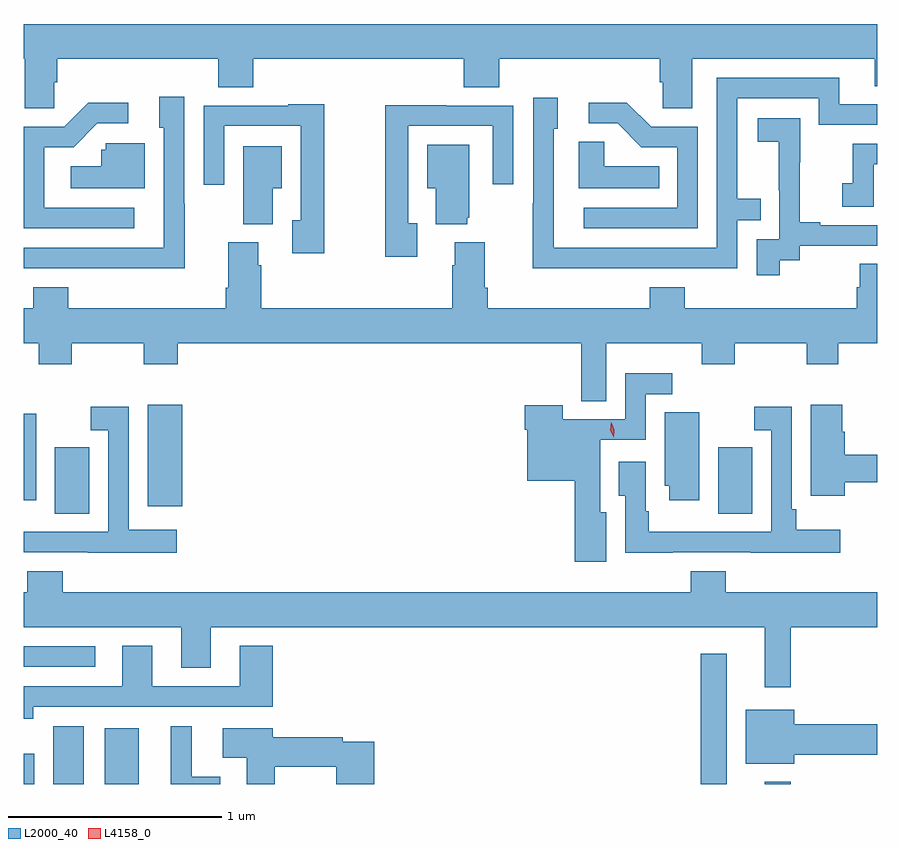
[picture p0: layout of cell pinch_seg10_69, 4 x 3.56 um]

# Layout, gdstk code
import gdstk
lib = gdstk.Library(unit=1e-6, precision=1e-09)
def R(c, l, rs):  # rectangles x0, y0, x1, y1
    for r in rs: c.add(gdstk.rectangle(r[:2], r[2:], *l))
def P(c, l, *ps):  # polygons
    for p in ps: c.add(gdstk.Polygon(p, *l))
L2000_40 = (2000, 40)
L4158_0 = (4158, 0)

pinch_seg10_69 = lib.new_cell('pinch_seg10_69')
R(pinch_seg10_69, L2000_40, [(820.326,1319.562,820.374,1319.704), (820.463,1319.562,820.606,1319.833), (820.706,1319.562,820.864,1319.824), (823.5,1319.562,823.621,1320.172), (823.799,1319.562,823.921,1319.572), (820.326,1320.111,820.66,1320.207), (820.472,1320.829,820.633,1321.14), (823.58,1320.829,823.741,1321.14), (820.907,1320.864,821.068,1321.339), (820.326,1320.891,820.384,1321.297)])
P(pinch_seg10_69, L2000_40, [(820.47,1322.851),(820.484,1322.851),(820.484,1322.96),(821.237,1322.96),(821.237,1322.827),(821.402,1322.827),(821.402,1322.96),(822.389,1322.96),(822.389,1322.827),(822.554,1322.827),(822.554,1322.96),(823.307,1322.96),(823.307,1322.851),(823.32,1322.851),(823.32,1322.728),(823.459,1322.728),(823.459,1322.96),(824.315,1322.96),(824.315,1322.833),(824.326,1322.833),(824.326,1323.124),(820.326,1323.124),(820.326,1322.96),(820.331,1322.96),(820.331,1322.728),(820.47,1322.728)],
  [(823.175,1321.98),(823.671,1321.98),(823.671,1322.205),(823.781,1322.205),(823.781,1322.306),(823.671,1322.306),(823.671,1322.775),(824.052,1322.775),(824.052,1322.652),(824.326,1322.652),(824.326,1322.748),(824.149,1322.748),(824.149,1322.871),(823.575,1322.871),(823.575,1322.076),(822.81,1322.076),(822.81,1322.634),(822.829,1322.634),(822.829,1322.779),(822.714,1322.779),(822.714,1322.285),(822.712,1322.285),(822.712,1321.979),(823.175,1321.979)],
  [(821.081,1322.282),(821.079,1322.282),(821.079,1322.782),(820.961,1322.782),(820.961,1322.637),(820.983,1322.637),(820.983,1322.076),(820.326,1322.076),(820.326,1321.98),(820.618,1321.98),(820.618,1321.979),(821.081,1321.979)],
  [(823.485,1322.643),(823.266,1322.643),(823.153,1322.756),(822.975,1322.756),(822.975,1322.658),(823.109,1322.658),(823.22,1322.547),(823.389,1322.547),(823.389,1322.262),(822.951,1322.262),(822.951,1322.166),(823.485,1322.166)],
  [(820.843,1322.262),(820.422,1322.262),(820.422,1322.547),(820.56,1322.547),(820.671,1322.658),(820.816,1322.658),(820.816,1322.756),(820.628,1322.756),(820.515,1322.643),(820.326,1322.643),(820.326,1322.166),(820.843,1322.166)],
  [(821.734,1322.749),(821.565,1322.749),(821.565,1322.742),(821.169,1322.742),(821.169,1322.37),(821.265,1322.37),(821.265,1322.646),(821.625,1322.646),(821.625,1322.205),(821.585,1322.205),(821.585,1322.049),(821.734,1322.049)],
  [(822.169,1322.19),(822.129,1322.19),(822.129,1322.646),(822.525,1322.646),(822.525,1322.373),(822.621,1322.373),(822.621,1322.742),(822.305,1322.742),(822.305,1322.744),(822.021,1322.744),(822.021,1322.034),(822.169,1322.034)],
  [(823.87,1322.017),(823.962,1322.017),(823.962,1322.085),(824.326,1322.085),(824.326,1322.181),(824.059,1322.181),(824.059,1322.194),(823.964,1322.194),(823.964,1322.477),(823.965,1322.477),(823.965,1322.683),(823.767,1322.683),(823.767,1322.573),(823.865,1322.573),(823.865,1322.345),(823.866,1322.345),(823.866,1322.115),(823.761,1322.115),(823.761,1321.947),(823.87,1321.947)],
  [(823.304,1322.458),(823.047,1322.458),(823.047,1322.573),(822.926,1322.573),(822.926,1322.354),(823.304,1322.354)],
  [(820.894,1322.565),(820.71,1322.565),(820.71,1322.535),(820.689,1322.535),(820.689,1322.458),(820.545,1322.458),(820.545,1322.354),(820.894,1322.354)],
  [(824.31,1322.466),(824.326,1322.466),(824.326,1322.562),(824.212,1322.562),(824.212,1322.377),(824.163,1322.377),(824.163,1322.268),(824.31,1322.268)],
  [(822.404,1322.217),(822.415,1322.217),(822.415,1322.557),(822.218,1322.557),(822.218,1322.354),(822.257,1322.354),(822.257,1322.186),(822.404,1322.186)],
  [(821.494,1322.354),(821.536,1322.354),(821.536,1322.551),(821.354,1322.551),(821.354,1322.185),(821.494,1322.185)],
  [(823.057,1321.628),(823.504,1321.628),(823.504,1321.529),(823.659,1321.529),(823.659,1321.628),(823.996,1321.628),(823.996,1321.529),(824.143,1321.529),(824.143,1321.628),(824.326,1321.628),(824.326,1322),(824.243,1322),(824.243,1321.89),(824.231,1321.89),(824.231,1321.792),(823.424,1321.792),(823.424,1321.891),(823.259,1321.891),(823.259,1321.792),(822.5,1321.792),(822.5,1321.888),(822.487,1321.888),(822.487,1322.101),(822.347,1322.101),(822.347,1321.994),(822.335,1321.994),(822.335,1321.792),(821.438,1321.792),(821.438,1321.994),(821.425,1321.994),(821.425,1322.1),(821.285,1322.1),(821.285,1321.888),(821.273,1321.888),(821.273,1321.792),(820.535,1321.792),(820.535,1321.891),(820.37,1321.891),(820.37,1321.792),(820.326,1321.792),(820.326,1321.628),(820.396,1321.628),(820.396,1321.529),(820.551,1321.529),(820.551,1321.628),(820.888,1321.628),(820.888,1321.529),(821.048,1321.529),(821.048,1321.628),(822.939,1321.628),(822.939,1321.357),(823.057,1321.357)],
  [(823.057,1320.835),(823.027,1320.835),(823.027,1321.176),(823.242,1321.176),(823.242,1321.389),(823.366,1321.389),(823.366,1321.486),(823.146,1321.486),(823.146,1321.272),(822.94,1321.272),(822.94,1321.271),(822.852,1321.271),(822.852,1321.336),(822.674,1321.336),(822.674,1321.223),(822.686,1321.223),(822.686,1320.983),(822.909,1320.983),(822.909,1320.603),(823.057,1320.603)],
  [(824.174,1320.976),(824.326,1320.976),(824.326,1321.105),(824.174,1321.105),(824.174,1321.214),(824.161,1321.214),(824.161,1321.339),(824.015,1321.339),(824.015,1320.912),(824.174,1320.912)],
  [(821.044,1320.754),(820.818,1320.754),(820.818,1321.33),(820.641,1321.33),(820.641,1321.221),(820.722,1321.221),(820.722,1320.744),(820.376,1320.744),(820.376,1320.745),(820.326,1320.745),(820.326,1320.648),(820.625,1320.648),(820.625,1320.647),(821.044,1320.647)],
  [(823.367,1320.648),(823.733,1320.648),(823.733,1320.647),(824.152,1320.647),(824.152,1320.754),(823.946,1320.754),(823.946,1320.85),(823.926,1320.85),(823.926,1321.33),(823.749,1321.33),(823.749,1321.221),(823.83,1321.221),(823.83,1320.744),(823.484,1320.744),(823.484,1320.745),(823.255,1320.745),(823.255,1320.841),(823.242,1320.841),(823.242,1321.072),(823.115,1321.072),(823.115,1320.913),(823.146,1320.913),(823.146,1320.647),(823.367,1320.647)],
  [(823.492,1321.304),(823.331,1321.304),(823.331,1320.96),(823.352,1320.96),(823.352,1320.891),(823.492,1320.891)],
  [(823.921,1320.296),(824.326,1320.296),(824.326,1320.46),(823.616,1320.46),(823.616,1320.559),(823.451,1320.559),(823.451,1320.46),(820.508,1320.46),(820.508,1320.559),(820.343,1320.559),(820.343,1320.46),(820.326,1320.46),(820.326,1320.296),(821.063,1320.296),(821.063,1320.106),(821.203,1320.106),(821.203,1320.296),(823.799,1320.296),(823.799,1320.015),(823.921,1320.015)],
  [(820.37,1319.925),(821.492,1319.925),(821.492,1320.211),(821.339,1320.211),(821.339,1320.021),(820.927,1320.021),(820.927,1320.211),(820.787,1320.211),(820.787,1320.021),(820.326,1320.021),(820.326,1319.868),(820.37,1319.868)],
  [(823.936,1319.699),(824.326,1319.699),(824.326,1319.841),(823.936,1319.841),(823.936,1319.911),(823.709,1319.911),(823.709,1319.657),(823.936,1319.657)],
  [(821.248,1319.596),(821.113,1319.596),(821.113,1319.833),(821.015,1319.833),(821.015,1319.562),(821.248,1319.562)],
  [(821.502,1319.644),(821.791,1319.644),(821.791,1319.562),(821.969,1319.562),(821.969,1319.76),(821.822,1319.76),(821.822,1319.78),(821.494,1319.78),(821.494,1319.824),(821.259,1319.824),(821.259,1319.684),(821.372,1319.684),(821.372,1319.562),(821.502,1319.562)])
P(pinch_seg10_69, L4158_0, [(823.09,1321.186),(823.09,1321.186),(823.075,1321.22),(823.079,1321.257),(823.079,1321.257),(823.079,1321.257),(823.094,1321.223),(823.09,1321.186)])

lib.write_gds('pinch_seg10_69.gds')
